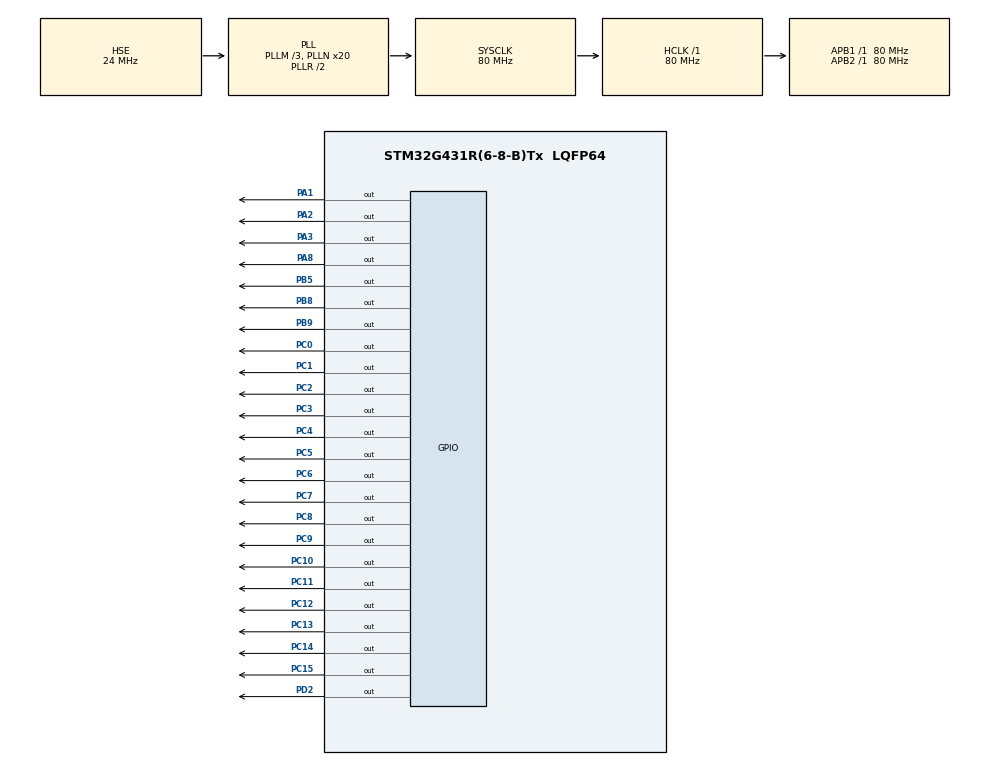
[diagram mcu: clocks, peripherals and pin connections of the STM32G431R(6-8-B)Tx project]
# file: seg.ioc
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Mcu.Family=STM32G4
Mcu.Name=STM32G431R(6-8-B)Tx
Mcu.Package=LQFP64
NVIC.PriorityGroup=NVIC_PRIORITYGROUP_4
PA1.Signal=GPIO_Output
PA2.Signal=GPIO_Output
PA3.Signal=GPIO_Output
PA8.Signal=GPIO_Output
PB5.Signal=GPIO_Output
PB8-BOOT0.Signal=GPIO_Output
PB9.Signal=GPIO_Output
PC0.Signal=GPIO_Output
PC1.Signal=GPIO_Output
PC10.PinState=GPIO_PIN_SET
PC10.Signal=GPIO_Output
PC11.PinState=GPIO_PIN_SET
PC11.Signal=GPIO_Output
PC12.PinState=GPIO_PIN_SET
PC12.Signal=GPIO_Output
PC13.PinState=GPIO_PIN_SET
PC13.Signal=GPIO_Output
PC14-OSC32_IN.PinState=GPIO_PIN_SET
PC14-OSC32_IN.Signal=GPIO_Output
PC15-OSC32_OUT.PinState=GPIO_PIN_SET
PC15-OSC32_OUT.Signal=GPIO_Output
PC2.Signal=GPIO_Output
PC3.Signal=GPIO_Output
PC4.Signal=GPIO_Output
PC5.Signal=GPIO_Output
PC6.Signal=GPIO_Output
PC7.Signal=GPIO_Output
PC8.PinState=GPIO_PIN_SET
PC8.Signal=GPIO_Output
PC9.PinState=GPIO_PIN_SET
PC9.Signal=GPIO_Output
PD2.Signal=GPIO_Output
PF0-OSC_IN.Mode=HSE-External-Oscillator
PF0-OSC_IN.Signal=RCC_OSC_IN
PF1-OSC_OUT.Mode=HSE-External-Oscillator
PF1-OSC_OUT.Signal=RCC_OSC_OUT
ProjectManager.HeapSize=0x200
ProjectManager.StackSize=0x400
ProjectManager.TargetToolchain=MDK-ARM V5.32
RCC.ADC12Freq_Value=80000000
RCC.AHBFreq_Value=80000000
RCC.APB1Freq_Value=80000000
RCC.APB1TimFreq_Value=80000000
RCC.APB2Freq_Value=80000000
RCC.APB2TimFreq_Value=80000000
RCC.CortexFreq_Value=80000000
RCC.EXTERNAL_CLOCK_VALUE=12288000
RCC.HCLKFreq_Value=80000000
RCC.HSE_VALUE=24000000
RCC.HSI48_VALUE=48000000
RCC.HSI_VALUE=16000000
RCC.LSE_VALUE=32768
RCC.PLLM=RCC_PLLM_DIV3
RCC.PLLN=20
RCC.PLLSourceVirtual=RCC_PLLSOURCE_HSE
RCC.SYSCLKFreq_VALUE=80000000
RCC.SYSCLKSource=RCC_SYSCLKSOURCE_PLLCLK
RCC.USBFreq_Value=80000000
RCC.VCOOutputFreq_Value=160000000
VP_SYS_VS_DBSignals.Mode=DisableDeadBatterySignals
board=custom

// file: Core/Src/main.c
/* USER CODE BEGIN Header */
/**
  ******************************************************************************
  * @file           : main.c
  * @brief          : Main program body
  ******************************************************************************
  * @attention
  *
  * Copyright (c) 2024 STMicroelectronics.
  * All rights reserved.
  *
  * This software is licensed under terms that can be found in the LICENSE file
  * in the root directory of this software component.
  * If no LICENSE file comes with this software, it is provided AS-IS.
  *
  ******************************************************************************
  */
/* USER CODE END Header */
#include "main.h"
#include "gpio.h"

/* USER CODE BEGIN Includes */

#include "seg.h"
#include "lcd.h"
#include "led.h"

/* USER CODE END Includes */

/* USER CODE BEGIN PTD */

__IO uint32_t uwTick_Seg;
unsigned char Seg_count;

/* USER CODE END PTD */

void SystemClock_Config(void);
/* USER CODE BEGIN PFP */
void seg_proc(void);

/* USER CODE END PFP */

int main(void)
{

  /* MCU Configuration--------------------------------------------------------*/

  /* Reset of all peripherals, Initializes the Flash interface and the Systick. */
  HAL_Init();

  /* Configure the system clock */
  SystemClock_Config();

  /* Initialize all configured peripherals */
  MX_GPIO_Init();
  /* USER CODE BEGIN 2 */
    LCD_Init();
    LCD_Clear(Black);
    LCD_SetBackColor(Black);
    LCD_SetTextColor(White);

    led_disp(0x00);

//    //第一个数码管显示1
//    seg_buf[0]=seg_code[1];
//    //第二个数码管显示2
//    seg_buf[1]=seg_code[2];
//    //第三个数码管显示3
//    seg_buf[2]=seg_code[3];

//    seg_display();

  /* USER CODE END 2 */

  /* Infinite loop */
  while (1)
  {

    /* USER CODE BEGIN 3 */
      seg_proc();
  }
  /* USER CODE END 3 */
}

void SystemClock_Config(void)
{
  RCC_OscInitTypeDef RCC_OscInitStruct = {0};
  RCC_ClkInitTypeDef RCC_ClkInitStruct = {0};

  /** Configure the main internal regulator output voltage
  */
  HAL_PWREx_ControlVoltageScaling(PWR_REGULATOR_VOLTAGE_SCALE1);

  /** Initializes the RCC Oscillators according to the specified parameters
  * in the RCC_OscInitTypeDef structure.
  */
  RCC_OscInitStruct.OscillatorType = RCC_OSCILLATORTYPE_HSE;
  RCC_OscInitStruct.HSEState = RCC_HSE_ON;
  RCC_OscInitStruct.PLL.PLLState = RCC_PLL_ON;
  RCC_OscInitStruct.PLL.PLLSource = RCC_PLLSOURCE_HSE;
  RCC_OscInitStruct.PLL.PLLM = RCC_PLLM_DIV3;
  RCC_OscInitStruct.PLL.PLLN = 20;
  RCC_OscInitStruct.PLL.PLLP = RCC_PLLP_DIV2;
  RCC_OscInitStruct.PLL.PLLQ = RCC_PLLQ_DIV2;
  RCC_OscInitStruct.PLL.PLLR = RCC_PLLR_DIV2;
  if (HAL_RCC_OscConfig(&RCC_OscInitStruct) != HAL_OK)
  {
    Error_Handler();
  }

  /** Initializes the CPU, AHB and APB buses clocks
  */
  RCC_ClkInitStruct.ClockType = RCC_CLOCKTYPE_HCLK|RCC_CLOCKTYPE_SYSCLK
                              |RCC_CLOCKTYPE_PCLK1|RCC_CLOCKTYPE_PCLK2;
  RCC_ClkInitStruct.SYSCLKSource = RCC_SYSCLKSOURCE_PLLCLK;
  RCC_ClkInitStruct.AHBCLKDivider = RCC_SYSCLK_DIV1;
  RCC_ClkInitStruct.APB1CLKDivider = RCC_HCLK_DIV1;
  RCC_ClkInitStruct.APB2CLKDivider = RCC_HCLK_DIV1;

  if (HAL_RCC_ClockConfig(&RCC_ClkInitStruct, FLASH_LATENCY_2) != HAL_OK)
  {
    Error_Handler();
  }
}

/* USER CODE BEGIN 4 */

void seg_proc(void)
{
    if((uwTick-uwTick_Seg)<100)return;
    uwTick_Seg=uwTick;
    Seg_count++;
    if(1000==Seg_count)Seg_count=0;
    seg_buf[0]=seg_code[Seg_count/100];//百位
    seg_buf[1]=seg_code[Seg_count/10%10];//十位
    seg_buf[2]=seg_code[Seg_count%10];//个位

    seg_display();
}

/* USER CODE END 4 */

void Error_Handler(void)
{
  __disable_irq();
  while (1)
  {
  }
}
